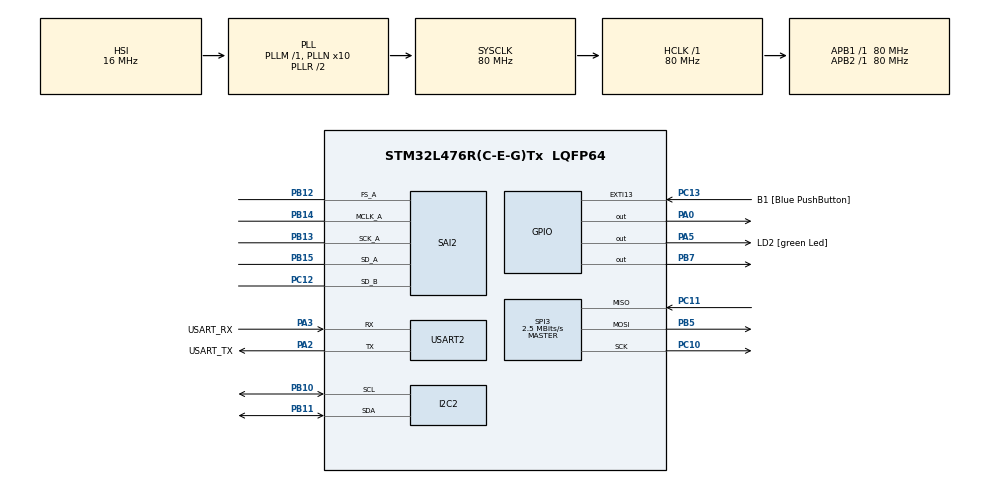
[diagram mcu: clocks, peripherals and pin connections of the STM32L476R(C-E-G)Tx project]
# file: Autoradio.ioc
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Dma.Request0=SAI2_A
Dma.Request1=SAI2_B
Dma.SAI2_A.0.Direction=DMA_MEMORY_TO_PERIPH
Dma.SAI2_A.0.Instance=DMA1_Channel6
Dma.SAI2_A.0.MemDataAlignment=DMA_MDATAALIGN_HALFWORD
Dma.SAI2_A.0.MemInc=DMA_MINC_ENABLE
Dma.SAI2_A.0.Mode=DMA_CIRCULAR
Dma.SAI2_A.0.PeriphDataAlignment=DMA_PDATAALIGN_WORD
Dma.SAI2_A.0.PeriphInc=DMA_PINC_DISABLE
Dma.SAI2_A.0.Priority=DMA_PRIORITY_LOW
Dma.SAI2_B.1.Direction=DMA_PERIPH_TO_MEMORY
Dma.SAI2_B.1.Instance=DMA1_Channel7
Dma.SAI2_B.1.MemDataAlignment=DMA_MDATAALIGN_HALFWORD
Dma.SAI2_B.1.MemInc=DMA_MINC_ENABLE
Dma.SAI2_B.1.Mode=DMA_CIRCULAR
Dma.SAI2_B.1.PeriphDataAlignment=DMA_PDATAALIGN_WORD
Dma.SAI2_B.1.PeriphInc=DMA_PINC_DISABLE
Dma.SAI2_B.1.Priority=DMA_PRIORITY_LOW
FREERTOS.Tasks01=defaultTask,0,128,StartDefaultTask,Default,NULL,Dynamic,NULL,NULL
FREERTOS.configCHECK_FOR_STACK_OVERFLOW=1
FREERTOS.configGENERATE_RUN_TIME_STATS=1
FREERTOS.configRECORD_STACK_HIGH_ADDRESS=1
FREERTOS.configTOTAL_HEAP_SIZE=20000
FREERTOS.configUSE_NEWLIB_REENTRANT=1
FREERTOS.configUSE_STATS_FORMATTING_FUNCTIONS=1
FREERTOS.configUSE_TRACE_FACILITY=1
I2C2.Timing=0x10909CEC
Mcu.Family=STM32L4
Mcu.Name=STM32L476R(C-E-G)Tx
Mcu.Package=LQFP64
NVIC.DMA1_Channel6_IRQn=true\:5\:0\:false\:false\:true\:true\:false\:true\:true
NVIC.DMA1_Channel7_IRQn=true\:5\:0\:false\:false\:true\:true\:false\:true\:true
NVIC.PriorityGroup=NVIC_PRIORITYGROUP_4
NVIC.SAI2_IRQn=true\:5\:0\:false\:false\:true\:true\:true\:true\:true
NVIC.SPI3_IRQn=true\:5\:0\:false\:false\:true\:true\:true\:true\:true
NVIC.TIM6_DAC_IRQn=true\:15\:0\:false\:false\:true\:false\:false\:true\:true
NVIC.TimeBase=TIM6_DAC_IRQn
NVIC.TimeBaseIP=TIM6
NVIC.USART2_IRQn=true\:5\:0\:false\:false\:true\:true\:true\:true\:true
PA0.PinState=GPIO_PIN_SET
PA0.Signal=GPIO_Output
PA13\ (JTMS-SWDIO).GPIO_Label=TMS
PA13\ (JTMS-SWDIO).Mode=Serial_Wire
PA13\ (JTMS-SWDIO).Signal=SYS_JTMS-SWDIO
PA14\ (JTCK-SWCLK).GPIO_Label=TCK
PA14\ (JTCK-SWCLK).Mode=Serial_Wire
PA14\ (JTCK-SWCLK).Signal=SYS_JTCK-SWCLK
PA2.GPIO_Label=USART_TX
PA2.GPIO_Mode=GPIO_MODE_AF_PP
PA2.GPIO_PuPd=GPIO_NOPULL
PA2.GPIO_Speed=GPIO_SPEED_FREQ_VERY_HIGH
PA2.Mode=Asynchronous
PA2.Signal=USART2_TX
PA3.GPIO_Label=USART_RX
PA3.GPIO_Mode=GPIO_MODE_AF_PP
PA3.GPIO_PuPd=GPIO_NOPULL
PA3.GPIO_Speed=GPIO_SPEED_FREQ_VERY_HIGH
PA3.Mode=Asynchronous
PA3.Signal=USART2_RX
PA5.GPIO_Label=LD2 [green Led]
PA5.GPIO_ModeDefaultOutputPP=GPIO_MODE_OUTPUT_PP
PA5.GPIO_PuPd=GPIO_NOPULL
PA5.GPIO_Speed=GPIO_SPEED_FREQ_LOW
PA5.Signal=GPIO_Output
PB10.Mode=I2C
PB10.Signal=I2C2_SCL
PB11.Mode=I2C
PB11.Signal=I2C2_SDA
PB12.Mode=SAI_A_MasterWithClock
PB12.Signal=SAI2_FS_A
PB13.Mode=SAI_A_MasterWithClock
PB13.Signal=SAI2_SCK_A
PB14.Mode=SAI_A_MasterWithClock
PB14.Signal=SAI2_MCLK_A
PB15.Mode=SAI_A_MasterWithClock
PB15.Signal=SAI2_SD_A
PB3\ (JTDO-TRACESWO).GPIO_Label=SWO
PB3\ (JTDO-TRACESWO).Signal=SYS_JTDO-SWO
PB5.Mode=Full_Duplex_Master
PB5.Signal=SPI3_MOSI
PB7.PinState=GPIO_PIN_SET
PB7.Signal=GPIO_Output
PC10.Mode=Full_Duplex_Master
PC10.Signal=SPI3_SCK
PC11.Mode=Full_Duplex_Master
PC11.Signal=SPI3_MISO
PC12.Mode=SAI_B_SyncSlave
PC12.Signal=SAI2_SD_B
PC13.GPIO_Label=B1 [Blue PushButton]
PC13.GPIO_ModeDefaultEXTI=GPIO_MODE_IT_FALLING
PC13.GPIO_PuPd=GPIO_NOPULL
PC13.Signal=GPXTI13
PC14-OSC32_IN\ (PC14).Mode=LSE-External-Oscillator
PC14-OSC32_IN\ (PC14).Signal=RCC_OSC32_IN
PC15-OSC32_OUT\ (PC15).Mode=LSE-External-Oscillator
PC15-OSC32_OUT\ (PC15).Signal=RCC_OSC32_OUT
PH0-OSC_IN\ (PH0).Signal=RCC_OSC_IN
PH1-OSC_OUT\ (PH1).Signal=RCC_OSC_OUT
ProjectManager.HeapSize=0x200
ProjectManager.StackSize=0x400
ProjectManager.TargetToolchain=STM32CubeIDE
RCC.ADCFreq_Value=104000000
RCC.AHBFreq_Value=80000000
RCC.APB1Freq_Value=80000000
RCC.APB1TimFreq_Value=80000000
RCC.APB2Freq_Value=80000000
RCC.APB2TimFreq_Value=80000000
RCC.CortexFreq_Value=80000000
RCC.HCLKFreq_Value=80000000
RCC.HSE_VALUE=8000000
RCC.HSI_VALUE=16000000
RCC.MSI_VALUE=4000000
RCC.PLLN=10
RCC.PLLSAI1N=13
RCC.PLLSAI1P=RCC_PLLP_DIV17
RCC.PLLSourceVirtual=RCC_PLLSOURCE_HSI
RCC.PREFETCH_ENABLE=1
RCC.SYSCLKFreq_VALUE=80000000
RCC.SYSCLKSource=RCC_SYSCLKSOURCE_PLLCLK
RCC.USBFreq_Value=104000000
RCC.VCOOutputFreq_Value=160000000
SAI2.AudioFrequency-SAI_A_MasterWithClock=SAI_AUDIO_FREQUENCY_48K
SAI2.ErrorAudioFreq-SAI_A_MasterWithClock=-0.42 %
SAI2.InitProtocol-SAI_A_MasterWithClock=Enable
SAI2.InitProtocol-SAI_B_SyncSlave=Enable
SAI2.Instance-SAI_A_MasterWithClock=SAI$Index_Block_A
SAI2.Instance-SAI_B_SyncSlave=SAI$Index_Block_B
SAI2.MClockEnable-SAI_A_MasterWithClock=SAI_MASTERCLOCK_ENABLE
SAI2.RealAudioFreq-SAI_A_MasterWithClock=47.794 KHz
SAI2.VirtualMode-SAI_A_MasterWithClock=VM_MASTER
SAI2.VirtualMode-SAI_B_SyncSlave=VM_SLAVE
SAI2.VirtualProtocol-SAI_A_BASIC=VM_BASIC_PROTOCOL
SAI2.VirtualProtocol-SAI_B_BASIC=VM_BASIC_PROTOCOL
SPI3.BaudRatePrescaler=SPI_BAUDRATEPRESCALER_32
SPI3.CRCCalculation=SPI_CRCCALCULATION_ENABLE
SPI3.CalculateBaudRate=2.5 MBits/s
SPI3.DataSize=SPI_DATASIZE_8BIT
SPI3.Direction=SPI_DIRECTION_2LINES
SPI3.Mode=SPI_MODE_MASTER
SPI3.VirtualType=VM_MASTER
TIM2.Period=65535
TIM2.Prescaler=320-1
USART2.VirtualMode-Asynchronous=VM_ASYNC
VP_FREERTOS_VS_CMSIS_V1.Mode=CMSIS_V1
VP_SAI2_VP_$IpInstance_SAIA_SAI_BASIC.Mode=SAI_A_BASIC
VP_SAI2_VP_$IpInstance_SAIB_SAI_BASIC.Mode=SAI_B_BASIC
VP_SYS_VS_tim6.Mode=TIM6
VP_TIM2_VS_ClockSourceINT.Mode=Internal
board=NUCLEO-L476RG

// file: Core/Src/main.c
/* USER CODE BEGIN Header */
/**
 ******************************************************************************
 * @file           : main.c
 * @brief          : Main program body
 ******************************************************************************
 * @attention
 *
 * Copyright (c) 2025 STMicroelectronics.
 * All rights reserved.
 *
 * This software is licensed under terms that can be found in the LICENSE file
 * in the root directory of this software component.
 * If no LICENSE file comes with this software, it is provided AS-IS.
 *
 ******************************************************************************
 */
/* USER CODE END Header */
#include "main.h"
#include "cmsis_os.h"
#include "dma.h"
#include "i2c.h"
#include "sai.h"
#include "spi.h"
#include "tim.h"
#include "usart.h"
#include "gpio.h"

/* USER CODE BEGIN Includes */
#include <stdlib.h>
#include <stdio.h>
#include "shell.h"
#include "drv_uart.h"
#include "drv_led.h"
#include "sgtl5000.h"

#define CODEC_ADDR 0x14

int __io_putchar(int chr){
	HAL_UART_Transmit(&huart2, (uint8_t*)&chr, 1, HAL_MAX_DELAY);
	return chr;
}

h_shell_t h_shell =
{
		.huart = &huart2,
		.drv_shell = {
				.drv_shell_transmit = drv_uart_transmit,
				.drv_shell_receive = drv_uart_receive
		},
};

h_sgtl5000_t h_sgtl5000 = {
	.hi2c = &hi2c2,
	.hsai_tx = &hsai_BlockA2,
	.hsai_rx = &hsai_BlockB2,
	.dev_address = CODEC_ADDR
};

void HAL_UART_RxCpltCallback(UART_HandleTypeDef *huart)
{
	  /* Prevent unused argument(s) compilation warning */
	  if(huart->Instance == USART2){
		  shell_uart_rx_callback(&h_shell);
		  //xSemaphoreTake(h_shell.sem_uart_rx, portMAX_DELAY);
	  }

	  /* NOTE: This function should not be modified, when the callback is needed,
	           the HAL_UART_TxHalfCpltCallback can be implemented in the user file.
	   */
}

void HAL_SAI_TxHalfCpltCallback(SAI_HandleTypeDef *hsai)
{
    extern h_sgtl5000_t h_sgtl5000;
    // Remplit la première moitié du buffer
    sgtl5000_triangle(&h_sgtl5000, 440.0f,0);    // 440 Hz
}

void HAL_SAI_TxCpltCallback(SAI_HandleTypeDef *hsai)
{
    extern h_sgtl5000_t h_sgtl5000;
    // Remplit la seconde moitié du buffer
    sgtl5000_triangle(&h_sgtl5000, 440.0f,1);
}

int fonction(h_shell_t * h_shell,int argc, char ** argv)
{
	printf("Je suis une fonction bidon\r\n");
	printf("argc = %d\r\n", argc);
	for (int i = 0 ; i<argc ; i++){
		printf("argv[%d] = %s\r\n", i, argv[i]);
	}

	return 0;
}

int addition(h_shell_t * h_shell,int argc, char ** argv){
	int sum = 0;
	for (int i = 0 ; i<argc ; i++){
		sum = sum + atoi(argv[i]);
	}
	printf("sum = %d\r\n" , sum);
	return 0;
}

int afficheStats(h_shell_t * h_shell,int argc, char ** argv){
	char * buf = 0;
	vTaskGetRunTimeStats(buf);
	return 0;
}

void task_shell(void* unused){
	MCP23S17_Init();
	//drv_MCP23S17_WriteRegister(0x00,0xFF);
	shell_init(&h_shell);
	shell_add(&h_shell,'f', fonction, "Une fonction inutile");
	shell_add(&h_shell,'a', addition, "Une addition");
	shell_add(&h_shell,'p', afficheStats, "Un affichage des stats");
	shell_run(&h_shell);
  }

void task_led(void * unused){
	for(;;){

		//uint8_t data[2];
		//HAL_I2C_Mem_Read(&hi2c2,CODEC_ADDR,0,I2C_MEMADD_SIZE_16BIT,data,2,100);
		//printf("la valeur est 0x%02X\r\n",data);
		HAL_GPIO_TogglePin(LD2_GPIO_Port, LD2_Pin);
		vTaskDelay(250);

	}
}

void vApplicationStackOverflowHook(TaskHandle_t xTask, char * pcTaskName){
	Error_Handler();
}

void configureTimerForRunTimeStats(void){
	HAL_TIM_Base_Start(&htim2);
}

unsigned long getRunTimeCounterValue(void){
	static unsigned long value = 0;
	static unsigned long counter_prev = 0;
	unsigned long counter = __HAL_TIM_GET_COUNTER(&htim2);
	if (counter < counter_prev){
		value += 65535;
	}
	counter_prev = counter;
	return value + counter;
}
/* USER CODE END Includes */

void SystemClock_Config(void);
void PeriphCommonClock_Config(void);
void MX_FREERTOS_Init(void);

int main(void)
{

  /* MCU Configuration--------------------------------------------------------*/

  /* Reset of all peripherals, Initializes the Flash interface and the Systick. */
  HAL_Init();

  /* Configure the system clock */
  SystemClock_Config();

/* Configure the peripherals common clocks */
  PeriphCommonClock_Config();

  /* Initialize all configured peripherals */
  MX_GPIO_Init();
  MX_DMA_Init();
  MX_USART2_UART_Init();
  MX_TIM2_Init();
  MX_SPI3_Init();
  MX_I2C2_Init();
  MX_SAI2_Init();
  /* USER CODE BEGIN 2 */

	if(xTaskCreate(task_led,"LED",128,NULL,2,NULL) != pdPASS){
		printf("Error creating task LED \r\n");
		Error_Handler();
	}

	if (xTaskCreate(task_shell,"SHELL",512,NULL,1,NULL) != pdPASS){
		  printf("Error creating task shell\r\n");
		  Error_Handler();
	}

	sgtl5000_init(&h_sgtl5000);
	sgtl5000_start(&h_sgtl5000);

	vTaskStartScheduler();
  /* USER CODE END 2 */

  /* Call init function for freertos objects (in freertos.c) */
  MX_FREERTOS_Init();

  /* Start scheduler */
  osKernelStart();

  /* We should never get here as control is now taken by the scheduler */
  /* Infinite loop */
	while (1)
	{

	}
}

void SystemClock_Config(void)
{
  RCC_OscInitTypeDef RCC_OscInitStruct = {0};
  RCC_ClkInitTypeDef RCC_ClkInitStruct = {0};

  /** Configure the main internal regulator output voltage
  */
  if (HAL_PWREx_ControlVoltageScaling(PWR_REGULATOR_VOLTAGE_SCALE1) != HAL_OK)
  {
    Error_Handler();
  }

  /** Initializes the RCC Oscillators according to the specified parameters
  * in the RCC_OscInitTypeDef structure.
  */
  RCC_OscInitStruct.OscillatorType = RCC_OSCILLATORTYPE_HSI;
  RCC_OscInitStruct.HSIState = RCC_HSI_ON;
  RCC_OscInitStruct.HSICalibrationValue = RCC_HSICALIBRATION_DEFAULT;
  RCC_OscInitStruct.PLL.PLLState = RCC_PLL_ON;
  RCC_OscInitStruct.PLL.PLLSource = RCC_PLLSOURCE_HSI;
  RCC_OscInitStruct.PLL.PLLM = 1;
  RCC_OscInitStruct.PLL.PLLN = 10;
  RCC_OscInitStruct.PLL.PLLP = RCC_PLLP_DIV7;
  RCC_OscInitStruct.PLL.PLLQ = RCC_PLLQ_DIV2;
  RCC_OscInitStruct.PLL.PLLR = RCC_PLLR_DIV2;
  if (HAL_RCC_OscConfig(&RCC_OscInitStruct) != HAL_OK)
  {
    Error_Handler();
  }

  /** Initializes the CPU, AHB and APB buses clocks
  */
  RCC_ClkInitStruct.ClockType = RCC_CLOCKTYPE_HCLK|RCC_CLOCKTYPE_SYSCLK
                              |RCC_CLOCKTYPE_PCLK1|RCC_CLOCKTYPE_PCLK2;
  RCC_ClkInitStruct.SYSCLKSource = RCC_SYSCLKSOURCE_PLLCLK;
  RCC_ClkInitStruct.AHBCLKDivider = RCC_SYSCLK_DIV1;
  RCC_ClkInitStruct.APB1CLKDivider = RCC_HCLK_DIV1;
  RCC_ClkInitStruct.APB2CLKDivider = RCC_HCLK_DIV1;

  if (HAL_RCC_ClockConfig(&RCC_ClkInitStruct, FLASH_LATENCY_4) != HAL_OK)
  {
    Error_Handler();
  }
}

void PeriphCommonClock_Config(void)
{
  RCC_PeriphCLKInitTypeDef PeriphClkInit = {0};

  /** Initializes the peripherals clock
  */
  PeriphClkInit.PeriphClockSelection = RCC_PERIPHCLK_SAI2;
  PeriphClkInit.Sai2ClockSelection = RCC_SAI2CLKSOURCE_PLLSAI1;
  PeriphClkInit.PLLSAI1.PLLSAI1Source = RCC_PLLSOURCE_HSI;
  PeriphClkInit.PLLSAI1.PLLSAI1M = 1;
  PeriphClkInit.PLLSAI1.PLLSAI1N = 13;
  PeriphClkInit.PLLSAI1.PLLSAI1P = RCC_PLLP_DIV17;
  PeriphClkInit.PLLSAI1.PLLSAI1Q = RCC_PLLQ_DIV2;
  PeriphClkInit.PLLSAI1.PLLSAI1R = RCC_PLLR_DIV2;
  PeriphClkInit.PLLSAI1.PLLSAI1ClockOut = RCC_PLLSAI1_SAI1CLK;
  if (HAL_RCCEx_PeriphCLKConfig(&PeriphClkInit) != HAL_OK)
  {
    Error_Handler();
  }
}

void HAL_TIM_PeriodElapsedCallback(TIM_HandleTypeDef *htim)
{
  if (htim->Instance == TIM6) {
    HAL_IncTick();
  }
}

void Error_Handler(void)
{
	__disable_irq();
	while (1)
	{
	}
}

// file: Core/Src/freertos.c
/* USER CODE BEGIN Header */
/**
  ******************************************************************************
  * File Name          : freertos.c
  * Description        : Code for freertos applications
  ******************************************************************************
  * @attention
  *
  * Copyright (c) 2025 STMicroelectronics.
  * All rights reserved.
  *
  * This software is licensed under terms that can be found in the LICENSE file
  * in the root directory of this software component.
  * If no LICENSE file comes with this software, it is provided AS-IS.
  *
  ******************************************************************************
  */
/* USER CODE END Header */

#include "FreeRTOS.h"
#include "task.h"
#include "main.h"
#include "cmsis_os.h"

osThreadId defaultTaskHandle;

void StartDefaultTask(void const * argument);

void MX_FREERTOS_Init(void); /* (MISRA C 2004 rule 8.1) */

/* GetIdleTaskMemory prototype (linked to static allocation support) */
void vApplicationGetIdleTaskMemory( StaticTask_t **ppxIdleTaskTCBBuffer, StackType_t **ppxIdleTaskStackBuffer, uint32_t *pulIdleTaskStackSize );

/* Hook prototypes */
void configureTimerForRunTimeStats(void);
unsigned long getRunTimeCounterValue(void);
void vApplicationStackOverflowHook(xTaskHandle xTask, signed char *pcTaskName);

/* USER CODE BEGIN 1 */
/* Functions needed when configGENERATE_RUN_TIME_STATS is on */
__weak void configureTimerForRunTimeStats(void)
{

}

__weak unsigned long getRunTimeCounterValue(void)
{
return 0;
}
/* USER CODE END 1 */

/* USER CODE BEGIN 4 */
__weak void vApplicationStackOverflowHook(xTaskHandle xTask, signed char *pcTaskName)
{
   /* Run time stack overflow checking is performed if
   configCHECK_FOR_STACK_OVERFLOW is defined to 1 or 2. This hook function is
   called if a stack overflow is detected. */
}
/* USER CODE END 4 */

/* USER CODE BEGIN GET_IDLE_TASK_MEMORY */
static StaticTask_t xIdleTaskTCBBuffer;
static StackType_t xIdleStack[configMINIMAL_STACK_SIZE];

void vApplicationGetIdleTaskMemory( StaticTask_t **ppxIdleTaskTCBBuffer, StackType_t **ppxIdleTaskStackBuffer, uint32_t *pulIdleTaskStackSize )
{
  *ppxIdleTaskTCBBuffer = &xIdleTaskTCBBuffer;
  *ppxIdleTaskStackBuffer = &xIdleStack[0];
  *pulIdleTaskStackSize = configMINIMAL_STACK_SIZE;
  /* place for user code */
}
/* USER CODE END GET_IDLE_TASK_MEMORY */

void MX_FREERTOS_Init(void) {

  /* Create the thread(s) */
  /* definition and creation of defaultTask */
  osThreadDef(defaultTask, StartDefaultTask, osPriorityNormal, 0, 128);
  defaultTaskHandle = osThreadCreate(osThread(defaultTask), NULL);

}

void StartDefaultTask(void const * argument)
{
  for(;;)
  {
    osDelay(1);
  }
}
